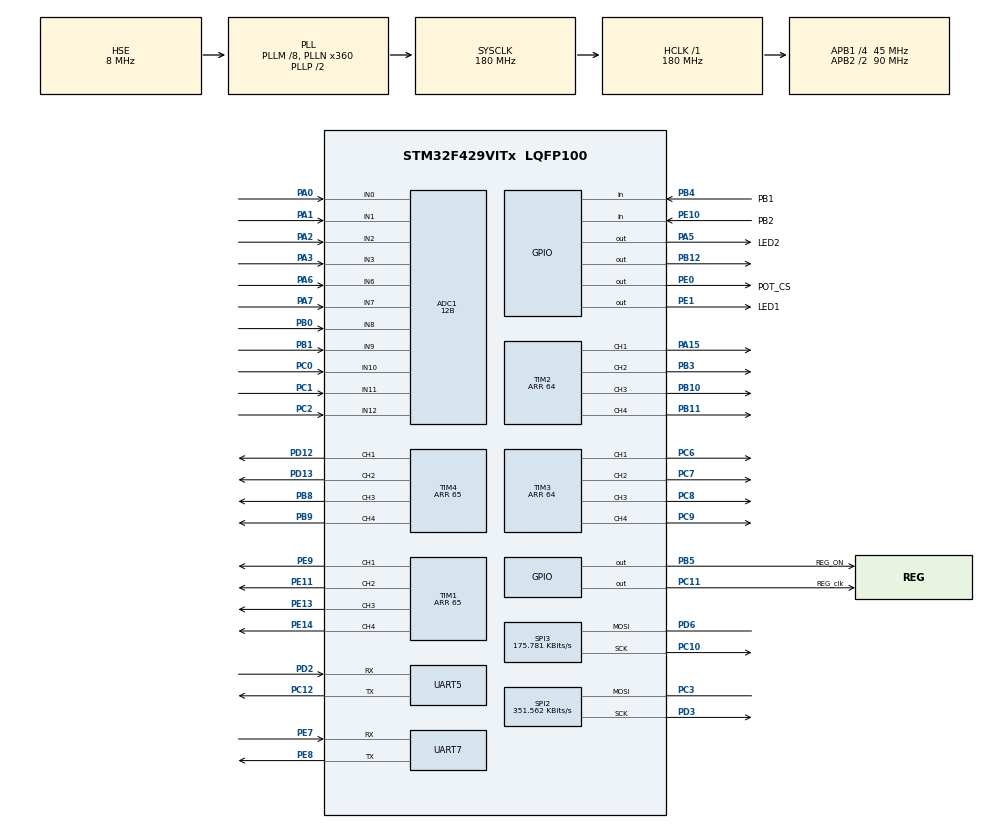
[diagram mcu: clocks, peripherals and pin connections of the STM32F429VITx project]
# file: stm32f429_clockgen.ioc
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ADC1.Channel-1\#ChannelRegularConversion=ADC_CHANNEL_9
ADC1.Channel-10\#ChannelRegularConversion=ADC_CHANNEL_0
ADC1.Channel-2\#ChannelRegularConversion=ADC_CHANNEL_8
ADC1.Channel-3\#ChannelRegularConversion=ADC_CHANNEL_7
ADC1.Channel-4\#ChannelRegularConversion=ADC_CHANNEL_6
ADC1.Channel-5\#ChannelRegularConversion=ADC_CHANNEL_11
ADC1.Channel-6\#ChannelRegularConversion=ADC_CHANNEL_12
ADC1.Channel-7\#ChannelRegularConversion=ADC_CHANNEL_10
ADC1.Channel-8\#ChannelRegularConversion=ADC_CHANNEL_2
ADC1.Channel-9\#ChannelRegularConversion=ADC_CHANNEL_3
ADC1.ClockPrescaler=ADC_CLOCK_SYNC_PCLK_DIV8
ADC1.NbrOfConversion=10
ADC1.NbrOfConversionFlag=1
ADC1.Rank-1\#ChannelRegularConversion=1
ADC1.Rank-10\#ChannelRegularConversion=10
ADC1.Rank-2\#ChannelRegularConversion=2
ADC1.Rank-3\#ChannelRegularConversion=3
ADC1.Rank-4\#ChannelRegularConversion=4
ADC1.Rank-5\#ChannelRegularConversion=5
ADC1.Rank-6\#ChannelRegularConversion=6
ADC1.Rank-7\#ChannelRegularConversion=7
ADC1.Rank-8\#ChannelRegularConversion=8
ADC1.Rank-9\#ChannelRegularConversion=9
ADC1.Resolution=ADC_RESOLUTION_12B
ADC1.SamplingTime-1\#ChannelRegularConversion=ADC_SAMPLETIME_3CYCLES
ADC1.SamplingTime-10\#ChannelRegularConversion=ADC_SAMPLETIME_3CYCLES
ADC1.SamplingTime-2\#ChannelRegularConversion=ADC_SAMPLETIME_3CYCLES
ADC1.SamplingTime-3\#ChannelRegularConversion=ADC_SAMPLETIME_3CYCLES
ADC1.SamplingTime-4\#ChannelRegularConversion=ADC_SAMPLETIME_3CYCLES
ADC1.SamplingTime-5\#ChannelRegularConversion=ADC_SAMPLETIME_3CYCLES
ADC1.SamplingTime-6\#ChannelRegularConversion=ADC_SAMPLETIME_3CYCLES
ADC1.SamplingTime-7\#ChannelRegularConversion=ADC_SAMPLETIME_3CYCLES
ADC1.SamplingTime-8\#ChannelRegularConversion=ADC_SAMPLETIME_3CYCLES
ADC1.SamplingTime-9\#ChannelRegularConversion=ADC_SAMPLETIME_3CYCLES
ADC1.master=1
Mcu.Family=STM32F4
Mcu.Name=STM32F429VITx
Mcu.Package=LQFP100
NVIC.PriorityGroup=NVIC_PRIORITYGROUP_4
NVIC.UART5_IRQn=true\:0\:0\:false\:false\:true\:true\:true\:true
PA0/WKUP.Signal=ADCx_IN0
PA1.Signal=ADCx_IN1
PA13.Mode=Serial_Wire
PA13.Signal=SYS_JTMS-SWDIO
PA14.Mode=Serial_Wire
PA14.Signal=SYS_JTCK-SWCLK
PA15.Signal=S_TIM2_CH1_ETR
PA2.Signal=ADCx_IN2
PA3.Signal=ADCx_IN3
PA5.GPIO_Label=LED2
PA5.Signal=GPIO_Output
PA6.Signal=ADCx_IN6
PA7.Signal=ADCx_IN7
PB0.Signal=ADCx_IN8
PB1.Signal=ADCx_IN9
PB10.Signal=S_TIM2_CH3
PB11.Signal=S_TIM2_CH4
PB12.Signal=GPIO_Output
PB3.Signal=S_TIM2_CH2
PB4.GPIO_Label=PB1
PB4.Signal=GPIO_Input
PB5.GPIO_Label=REG_ON
PB5.Signal=GPIO_Output
PB8.Signal=S_TIM4_CH3
PB9.Signal=S_TIM4_CH4
PC0.Signal=ADCx_IN10
PC1.Signal=ADCx_IN11
PC10.Mode=Simplex_Bidirectional_Master
PC10.Signal=SPI3_SCK
PC11.GPIO_Label=REG_clk
PC11.Signal=GPIO_Output
PC12.Mode=Asynchronous
PC12.Signal=UART5_TX
PC2.Signal=ADCx_IN12
PC3.Mode=Simplex_Bidirectional_Master
PC3.Signal=SPI2_MOSI
PC6.Signal=S_TIM3_CH1
PC7.Signal=S_TIM3_CH2
PC8.Signal=S_TIM3_CH3
PC9.Signal=S_TIM3_CH4
PD12.Signal=S_TIM4_CH1
PD13.Signal=S_TIM4_CH2
PD2.Mode=Asynchronous
PD2.Signal=UART5_RX
PD3.Mode=Simplex_Bidirectional_Master
PD3.Signal=SPI2_SCK
PD6.Mode=Simplex_Bidirectional_Master
PD6.Signal=SPI3_MOSI
PE0.GPIO_Label=POT_CS
PE0.Signal=GPIO_Output
PE1.GPIO_Label=LED1
PE1.Signal=GPIO_Output
PE10.GPIO_Label=PB2
PE10.Signal=GPIO_Input
PE11.Signal=S_TIM1_CH2
PE13.Signal=S_TIM1_CH3
PE14.Signal=S_TIM1_CH4
PE7.Mode=Asynchronous
PE7.Signal=UART7_RX
PE8.Mode=Asynchronous
PE8.Signal=UART7_TX
PE9.Signal=S_TIM1_CH1
PH0/OSC_IN.Mode=HSE-External-Oscillator
PH0/OSC_IN.Signal=RCC_OSC_IN
PH1/OSC_OUT.Mode=HSE-External-Oscillator
PH1/OSC_OUT.Signal=RCC_OSC_OUT
ProjectManager.HeapSize=0x200
ProjectManager.StackSize=0x400
ProjectManager.TargetToolchain=MDK-ARM V5.27
RCC.48MHZClocksFreq_Value=51428571.428571425
RCC.AHBFreq_Value=180000000
RCC.APB1CLKDivider=RCC_HCLK_DIV4
RCC.APB1Freq_Value=45000000
RCC.APB1TimFreq_Value=180000000
RCC.APB2CLKDivider=RCC_HCLK_DIV2
RCC.APB2Freq_Value=90000000
RCC.APB2TimFreq_Value=180000000
RCC.CortexFreq_Value=180000000
RCC.HCLKFreq_Value=180000000
RCC.HSE_VALUE=8000000
RCC.HSI_VALUE=16000000
RCC.LSE_VALUE=32768
RCC.PLLM=8
RCC.PLLN=360
RCC.PLLQ=7
RCC.PLLSourceVirtual=RCC_PLLSOURCE_HSE
RCC.RCC_TIM_PRescaler_Selection=RCC_TIMPRES_ACTIVATED
RCC.SYSCLKFreq_VALUE=180000000
RCC.SYSCLKSource=RCC_SYSCLKSOURCE_PLLCLK
RCC.VCOOutputFreq_Value=360000000
SH.ADCx_IN0.0=ADC1_IN0,IN0
SH.ADCx_IN1.0=ADC1_IN1,IN1
SH.ADCx_IN10.0=ADC1_IN10,IN10
SH.ADCx_IN11.0=ADC1_IN11,IN11
SH.ADCx_IN12.0=ADC1_IN12,IN12
SH.ADCx_IN2.0=ADC1_IN2,IN2
SH.ADCx_IN3.0=ADC1_IN3,IN3
SH.ADCx_IN6.0=ADC1_IN6,IN6
SH.ADCx_IN7.0=ADC1_IN7,IN7
SH.ADCx_IN8.0=ADC1_IN8,IN8
SH.ADCx_IN9.0=ADC1_IN9,IN9
SH.S_TIM1_CH1.0=TIM1_CH1,PWM Generation1 CH1
SH.S_TIM1_CH2.0=TIM1_CH2,PWM Generation2 CH2
SH.S_TIM1_CH3.0=TIM1_CH3,PWM Generation3 CH3
SH.S_TIM1_CH4.0=TIM1_CH4,PWM Generation4 CH4
SH.S_TIM2_CH1_ETR.0=TIM2_CH1,PWM Generation1 CH1
SH.S_TIM2_CH2.0=TIM2_CH2,PWM Generation2 CH2
SH.S_TIM2_CH3.0=TIM2_CH3,PWM Generation3 CH3
SH.S_TIM2_CH4.0=TIM2_CH4,PWM Generation4 CH4
SH.S_TIM3_CH1.0=TIM3_CH1,PWM Generation1 CH1
SH.S_TIM3_CH2.0=TIM3_CH2,PWM Generation2 CH2
SH.S_TIM3_CH3.0=TIM3_CH3,PWM Generation3 CH3
SH.S_TIM3_CH4.0=TIM3_CH4,PWM Generation4 CH4
SH.S_TIM4_CH1.0=TIM4_CH1,PWM Generation1 CH1
SH.S_TIM4_CH2.0=TIM4_CH2,PWM Generation2 CH2
SH.S_TIM4_CH3.0=TIM4_CH3,PWM Generation3 CH3
SH.S_TIM4_CH4.0=TIM4_CH4,PWM Generation4 CH4
SPI2.BaudRatePrescaler=SPI_BAUDRATEPRESCALER_128
SPI2.CalculateBaudRate=351.562 KBits/s
SPI2.DataSize=SPI_DATASIZE_16BIT
SPI2.Direction=SPI_DIRECTION_1LINE
SPI2.Mode=SPI_MODE_MASTER
SPI2.VirtualType=VM_MASTER
SPI3.BaudRatePrescaler=SPI_BAUDRATEPRESCALER_256
SPI3.CLKPolarity=SPI_POLARITY_LOW
SPI3.CalculateBaudRate=175.781 KBits/s
SPI3.DataSize=SPI_DATASIZE_8BIT
SPI3.Direction=SPI_DIRECTION_1LINE
SPI3.Mode=SPI_MODE_MASTER
SPI3.VirtualType=VM_MASTER
TIM1.Channel-PWM\ Generation1\ CH1=TIM_CHANNEL_1
TIM1.Channel-PWM\ Generation2\ CH2=TIM_CHANNEL_2
TIM1.Channel-PWM\ Generation3\ CH3=TIM_CHANNEL_3
TIM1.Channel-PWM\ Generation4\ CH4=TIM_CHANNEL_4
TIM1.CounterMode=TIM_COUNTERMODE_CENTERALIGNED1
TIM1.OCIdleState_2=TIM_OCIDLESTATE_SET
TIM1.Period=65
TIM2.Channel-PWM\ Generation1\ CH1=TIM_CHANNEL_1
TIM2.Channel-PWM\ Generation2\ CH2=TIM_CHANNEL_2
TIM2.Channel-PWM\ Generation3\ CH3=TIM_CHANNEL_3
TIM2.Channel-PWM\ Generation4\ CH4=TIM_CHANNEL_4
TIM2.CounterMode=TIM_COUNTERMODE_CENTERALIGNED1
TIM2.Period=64
TIM2.Pulse-PWM\ Generation1\ CH1=27
TIM2.Pulse-PWM\ Generation2\ CH2=44
TIM3.Channel-PWM\ Generation1\ CH1=TIM_CHANNEL_1
TIM3.Channel-PWM\ Generation2\ CH2=TIM_CHANNEL_2
TIM3.Channel-PWM\ Generation3\ CH3=TIM_CHANNEL_3
TIM3.Channel-PWM\ Generation4\ CH4=TIM_CHANNEL_4
TIM3.CounterMode=TIM_COUNTERMODE_CENTERALIGNED1
TIM3.Period=64
TIM3.Pulse-PWM\ Generation3\ CH3=27
TIM4.Channel-PWM\ Generation1\ CH1=TIM_CHANNEL_1
TIM4.Channel-PWM\ Generation2\ CH2=TIM_CHANNEL_2
TIM4.Channel-PWM\ Generation3\ CH3=TIM_CHANNEL_3
TIM4.Channel-PWM\ Generation4\ CH4=TIM_CHANNEL_4
TIM4.CounterMode=TIM_COUNTERMODE_CENTERALIGNED1
TIM4.Period=65
TIM5.Period=1
TIM5.TIM_MasterOutputTrigger=TIM_TRGO_ENABLE
TIM5.TIM_MasterSlaveMode=TIM_MASTERSLAVEMODE_ENABLE
TIM8.Period=10
TIM8.TIM_MasterOutputTrigger=TIM_TRGO_ENABLE
TIM8.TIM_MasterSlaveMode=TIM_MASTERSLAVEMODE_ENABLE
UART5.VirtualMode=Asynchronous
UART7.VirtualMode=Asynchronous
VP_TIM1_VS_ClockSourceINT.Mode=Internal
VP_TIM1_VS_ClockSourceITR.Mode=TriggerSource_ITR0
VP_TIM1_VS_ControllerModeGated.Mode=Gated Mode
VP_TIM2_VS_ClockSourceINT.Mode=Internal
VP_TIM2_VS_ClockSourceITR.Mode=TriggerSource_ITR1
VP_TIM2_VS_ControllerModeGated.Mode=Gated Mode
VP_TIM3_VS_ClockSourceINT.Mode=Internal
VP_TIM3_VS_ClockSourceITR.Mode=TriggerSource_ITR2
VP_TIM3_VS_ControllerModeGated.Mode=Gated Mode
VP_TIM4_VS_ClockSourceINT.Mode=Internal
VP_TIM4_VS_ClockSourceITR.Mode=TriggerSource_ITR3
VP_TIM4_VS_ControllerModeGated.Mode=Gated Mode
VP_TIM5_VS_ClockSourceINT.Mode=Internal
VP_TIM5_VS_ClockSourceITR.Mode=TriggerSource_ITR3
VP_TIM5_VS_ControllerModeGated.Mode=Gated Mode
VP_TIM8_VS_ClockSourceINT.Mode=Internal
board=custom

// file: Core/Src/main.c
/* USER CODE BEGIN Header */
/**
  ******************************************************************************
  * @file           : main.c
  * @brief          : Main program body
  ******************************************************************************
  * @attention
  *
  * <h2><center>&copy; Copyright (c) 2021 STMicroelectronics.
  * All rights reserved.</center></h2>
  *
  * This software component is licensed by ST under BSD 3-Clause license,
  * the "License"; You may not use this file except in compliance with the
  * License. You may obtain a copy of the License at:
  *                        opensource.org/licenses/BSD-3-Clause
  *
  ******************************************************************************
  */
/* USER CODE END Header */
#include "main.h"

ADC_HandleTypeDef hadc1;

SPI_HandleTypeDef hspi2;
SPI_HandleTypeDef hspi3;

TIM_HandleTypeDef htim1;
TIM_HandleTypeDef htim2;
TIM_HandleTypeDef htim3;
TIM_HandleTypeDef htim4;
TIM_HandleTypeDef htim5;
TIM_HandleTypeDef htim8;

UART_HandleTypeDef huart5;
UART_HandleTypeDef huart7;

/* USER CODE BEGIN PV */
#define RED 1
#define GREEN 0
#define ch1_2 1
#define ch3_4 3
#define INPHASE 1
#define OFF 0
#define ANTIPHASE -1
#define SHORTCIRCUIT 0
#define OPENCIRCUIT 1

TIM_TypeDef  *timers[7] = {TIM1,TIM2,TIM4,TIM4,TIM3,TIM3,TIM2};
const uint8_t channels[7] ={1,3,1,3,1,3,1};
uint16_t freq = 65;
uint8_t deadtime = 8;
float voltage = 4;
int8_t transmiter_state[7]={OFF,OFF,OFF,OFF,OFF,OFF,OFF};
uint16_t LEDs_state = 0;
uint8_t flags = 6;
//FATFS USBDISKFatFs;           /* File system object for USB disk logical drive */
//FIL MyFile;                   /* File object */
//char USBDISKPath[4];          /* USB Host logical drive path */
//USBH_HandleTypeDef hUSBHost; /* USB Host handle */
//static void MSC_Application(void);
//extern ApplicationTypeDef Appli_state;
char buff[5];
char received_flag = 0;
/* USER CODE END PV */

void SystemClock_Config(void);
static void MX_GPIO_Init(void);
static void MX_ADC1_Init(void);
static void MX_SPI2_Init(void);
static void MX_SPI3_Init(void);
static void MX_TIM1_Init(void);
static void MX_TIM2_Init(void);
static void MX_TIM3_Init(void);
static void MX_TIM4_Init(void);
static void MX_UART5_Init(void);
static void MX_UART7_Init(void);
static void MX_TIM5_Init(void);
static void MX_TIM8_Init(void);
/* USER CODE BEGIN PFP */
void timers_init();
void setRegVoltage(float Vo);
void resetLEDs();
void setLEDs(uint8_t COL, uint8_t NUM , uint8_t ON_OFF );
void set_frequency(int f);
void PWM_SET(TIM_HandleTypeDef* timer, uint8_t channel ,int8_t phase,int f,uint8_t deadtime);
void transmiter(uint8_t num,int8_t state , uint8_t HighZ);
/* USER CODE END PFP */

/* USER CODE BEGIN 0 */
	union transmit_data
    {
    uint16_t ADCValue[7];
    uint8_t TXdata[14];
    }TData;

/* USER CODE END 0 */

int main(void)
{

  /* MCU Configuration--------------------------------------------------------*/

  /* Reset of all peripherals, Initializes the Flash interface and the Systick. */
  HAL_Init();

  /* Configure the system clock */
  SystemClock_Config();

  /* Initialize all configured peripherals */
  MX_GPIO_Init();
  MX_ADC1_Init();
  MX_SPI2_Init();
  MX_SPI3_Init();
  MX_TIM1_Init();
  MX_TIM2_Init();
  MX_TIM3_Init();
  MX_TIM4_Init();
  MX_UART5_Init();
  MX_UART7_Init();
  MX_TIM5_Init();
  MX_TIM8_Init();
  /* USER CODE BEGIN 2 */
	resetLEDs();
//	__HAL_RCC_TIM2_CLK_ENABLE();
//	TIM2->CR1 = (1<<0)|(1<<5)|(1<<6);
//	TIM2->CCMR1 = (1<<5)|(1<<6)|(1<<14)|(1<<13);
//	TIM2->CCER = (1<<0)|(1<<4);
//	TIM2->ARR = freq;
//	TIM2->CCR1 = (freq/2)-5;
//	TIM2->CCR2 = (freq/2)+5;
//	__HAL_RCC_GPIOB_CLK_ENABLE();
//  __HAL_RCC_GPIOA_CLK_ENABLE();
//	GPIO_InitTypeDef GPIO_InitStruct = {0};
//	GPIO_InitStruct.Pin = GPIO_PIN_3;
//    GPIO_InitStruct.Mode = GPIO_MODE_AF_PP;
//    GPIO_InitStruct.Pull = GPIO_NOPULL;
//    GPIO_InitStruct.Speed = GPIO_SPEED_FREQ_LOW;
//    GPIO_InitStruct.Alternate = GPIO_AF1_TIM2;
//    HAL_GPIO_Init(GPIOB, &GPIO_InitStruct);

//    GPIO_InitStruct.Pin = GPIO_PIN_15;
//    GPIO_InitStruct.Mode = GPIO_MODE_AF_PP;
//    GPIO_InitStruct.Pull = GPIO_NOPULL;
//    GPIO_InitStruct.Speed = GPIO_SPEED_FREQ_LOW;
//    GPIO_InitStruct.Alternate = GPIO_AF1_TIM2;
//    HAL_GPIO_Init(GPIOA, &GPIO_InitStruct);
	//RCC->APB1ENR = RCC->APB1ENR |(uint32_t)(1<<0);

//	for(int i=1 ; i<=7 ; i++) {
//		if(i>1) setLEDs(RED,i-1,0);
//		setLEDs(RED,i,1);
//		HAL_Delay(100);
//	}
//	setLEDs(RED,7,0);
//	for(int i=1 ; i<=7 ; i++){
//		if(i>1) setLEDs(GREEN,i-1,0);
//		setLEDs(GREEN,i,1);
//		HAL_Delay(100);
//	}
//	setLEDs(GREEN,7,0);
  /* USER CODE END 2 */

  /* Infinite loop */
  /* USER CODE BEGIN WHILE */
	//int i;
	timers_init();
	HAL_GPIO_WritePin(REG_ON_GPIO_Port,REG_ON_Pin,GPIO_PIN_SET);
	HAL_GPIO_WritePin(POT_CS_GPIO_Port,POT_CS_Pin,GPIO_PIN_SET);
	HAL_Delay(100);
	setRegVoltage(4);
	/*for(i=3;i<=12;i++) {
		setRegVoltage(i);
		HAL_Delay(500);
	}*/
	//PWM_SET(&htim4 ,ch3_4 , ANTIPHASE ,64 , 7);
	//PWM_SET(&htim2 ,ch3_4 , INPHASE ,64 , 7);
	/*for(int i =1 ; i <= 7 ; i++){
			transmiter(i,ANTIPHASE);
		if(i>1) transmiter(i-1,OFF);
		HAL_Delay(2000);
	}*/
	//HAL_TIM_Base_Stop(&htim1);
	//HAL_TIM_Base_Stop(&htim2);
	//HAL_TIM_Base_Stop(&htim3);
	//HAL_TIM_Base_Stop(&htim4);
	HAL_Delay(200);
	//transmiter(2,INPHASE);
	HAL_Delay(20);
	transmiter(6,ANTIPHASE,OPENCIRCUIT);
//	char tx_state = 'S';
//	buff[0] = 'S';
	set_frequency(102);
	//transmiter(6,ANTIPHASE);
	//transmiter(7,ANTIPHASE);
	HAL_TIM_PWM_Start(&htim1, TIM_CHANNEL_1);
	HAL_TIM_PWM_Start(&htim1, TIM_CHANNEL_2);
	//HAL_TIM_Base_Start(&htim1);
	TIM1->CR1 |= (1<<0);
	TIM5->CR1 |= (1<<0);

	HAL_TIM_Base_Start(&htim8);
	HAL_TIM_Base_Start(&htim1);
	HAL_TIM_PWM_Start(&htim1, TIM_CHANNEL_1);
	HAL_TIM_PWM_Start(&htim1, TIM_CHANNEL_2);
	//HAL_TIM_PWM_Start(&htim4, TIM_CHANNEL_3);
	//HAL_TIM_PWM_Start(&htim4, TIM_CHANNEL_4);

	float v = 4;

	uint16_t f=0;
	//unsigned int ADCValue[9];
	uint8_t i=0;
	//Appli_state = APPLICATION_START;
	HAL_UART_Receive_IT(&huart5,(uint8_t *)buff, 2);
	//void *packetADD = &(ADCValue[0]);
  while (1)
  {
		/*HAL_GPIO_TogglePin(LED1_GPIO_Port,LED1_Pin);
		HAL_Delay(500);
		HAL_GPIO_TogglePin(LED2_GPIO_Port,LED2_Pin);
		HAL_Delay(500);*/
		/*setRegVoltage(v);
		if(f){
			v = v + 0.5;
			if(v==10) f=0;
		}
		else{
			v = v - 0.5;
			if(v==3) f=1;
		}
		HAL_Delay(500);*/
/*************** ADC start conversion*******************************/
		/*HAL_ADC_Start(&hadc1);
		for(i=0;i<10;i++){
			if (HAL_ADC_PollForConversion(&hadc1, 100) == HAL_OK){
					TData.ADCValue[i] = HAL_ADC_GetValue(&hadc1);
			}
		}
		HAL_UART_Transmit (&huart5, TData.TXdata ,2*7,10);*/
		//HAL_Delay(10);

/**************UART input data interpatation*************************/
		if(received_flag){
				received_flag = 0;
				if( buff[0] == 'f' || buff[0] == 'F' ){
					freq = ( (uint8_t)buff[1] );
					set_frequency(freq);
				}else if( buff[0] == 'v' || buff[0] == 'V' ){
					voltage = (( uint8_t)buff[1] ) * 10 / 255.0 + 1.9;
					setRegVoltage( voltage );
				}
				else if( buff[0] == 't' || buff[0] == 'T' ){
					flags = (( uint8_t)buff[1] )  & ( 0x0f );
					transmiter_state[ flags - 1 ] = (int8_t) ( ( uint8_t)buff[1]  & ( 0xf0 ) ) >> 4 ;
					transmiter( flags , transmiter_state[ flags - 1 ] , OPENCIRCUIT );
				}
				else if( buff[0] == 'S' && buff[1] == 'C' ){ //start conversion command
					HAL_ADC_Start(&hadc1);
					for(i=0;i<10;i++){
						if (HAL_ADC_PollForConversion(&hadc1, 100) == HAL_OK){
								TData.ADCValue[i] = HAL_ADC_GetValue(&hadc1);
						}
					}
					HAL_UART_Transmit (&huart5, TData.TXdata ,2*7,10);
				}
}
/*******************frequency setting**********************************/
//		f = TData.ADCValue[3] /(2047.0) * 80 + 50 ;
//		if( f != freq){
//			freq = f;
////			HAL_TIM_Base_Stop(&htim8);
////			HAL_TIM_Base_Stop(&htim5);
////			HAL_TIM_Base_Stop(&htim1);
////			HAL_TIM_Base_Stop(&htim2);
////			HAL_TIM_Base_Stop(&htim3);
////			HAL_TIM_Base_Stop(&htim4);
//			set_frequency(f);
////			HAL_TIM_Base_Start(&htim8);
////			HAL_TIM_Base_Start(&htim5);
//		}

/********************************voltage set****************************/
//		v = TData.ADCValue[4] / (2047.0)  * 8.0  + 4.0;
//		if(v != voltage ) {
//			voltage = v;
//			setRegVoltage(v);
//		}
		HAL_Delay(10);

/********************** transmiter number set *************************/
//		if( HAL_GPIO_ReadPin(PB2_GPIO_Port,PB2_Pin) == GPIO_PIN_RESET){
//			flags++;
//			if(flags>= 8 ) flags =6;
//			transmiter(flags,ANTIPHASE,OPENCIRCUIT);
//			/*if(flags == 0 ) {
//				transmiter(7,ANTIPHASE);
//				flags =1;
//			}
//			else if(flags == 1 ) {
//				transmiter(7,INPHASE);
//				flags =2;
//			}else if(flags == 2 ) {
//				transmiter(7,OFF);
//				flags =0;
//			}*/
//			/*flags++;
//			if(flags==8)flags = 1;
//			if(flags == 1) transmiter(7,OFF);
//			else transmiter(flags-1,OFF);
//			transmiter(flags,ANTIPHASE);*/
//			HAL_Delay(300);
//		}
/******************* transmiter state set*****************************/
//		if( HAL_GPIO_ReadPin(PB1_GPIO_Port,PB1_Pin) == GPIO_PIN_RESET){
//			int8_t st = transmiter_state[flags-1];
////			st++;
////			if(st == 2) st = -1;
//			st--;
//			if(st <= -2) st = 1;
//			transmiter(flags,st,OPENCIRCUIT);
//			HAL_Delay(300);
//		}
    /* USER CODE END WHILE */

  }
}

void SystemClock_Config(void)
{
  RCC_OscInitTypeDef RCC_OscInitStruct = {0};
  RCC_ClkInitTypeDef RCC_ClkInitStruct = {0};
  RCC_PeriphCLKInitTypeDef PeriphClkInitStruct = {0};

  /** Configure the main internal regulator output voltage
  */
  __HAL_RCC_PWR_CLK_ENABLE();
  __HAL_PWR_VOLTAGESCALING_CONFIG(PWR_REGULATOR_VOLTAGE_SCALE1);
  /** Initializes the RCC Oscillators according to the specified parameters
  * in the RCC_OscInitTypeDef structure.
  */
  RCC_OscInitStruct.OscillatorType = RCC_OSCILLATORTYPE_HSE;
  RCC_OscInitStruct.HSEState = RCC_HSE_ON;
  RCC_OscInitStruct.PLL.PLLState = RCC_PLL_ON;
  RCC_OscInitStruct.PLL.PLLSource = RCC_PLLSOURCE_HSE;
  RCC_OscInitStruct.PLL.PLLM = 8;
  RCC_OscInitStruct.PLL.PLLN = 360;
  RCC_OscInitStruct.PLL.PLLP = RCC_PLLP_DIV2;
  RCC_OscInitStruct.PLL.PLLQ = 7;
  if (HAL_RCC_OscConfig(&RCC_OscInitStruct) != HAL_OK)
  {
    Error_Handler();
  }
  /** Activate the Over-Drive mode
  */
  if (HAL_PWREx_EnableOverDrive() != HAL_OK)
  {
    Error_Handler();
  }
  /** Initializes the CPU, AHB and APB buses clocks
  */
  RCC_ClkInitStruct.ClockType = RCC_CLOCKTYPE_HCLK|RCC_CLOCKTYPE_SYSCLK
                              |RCC_CLOCKTYPE_PCLK1|RCC_CLOCKTYPE_PCLK2;
  RCC_ClkInitStruct.SYSCLKSource = RCC_SYSCLKSOURCE_PLLCLK;
  RCC_ClkInitStruct.AHBCLKDivider = RCC_SYSCLK_DIV1;
  RCC_ClkInitStruct.APB1CLKDivider = RCC_HCLK_DIV4;
  RCC_ClkInitStruct.APB2CLKDivider = RCC_HCLK_DIV2;

  if (HAL_RCC_ClockConfig(&RCC_ClkInitStruct, FLASH_LATENCY_5) != HAL_OK)
  {
    Error_Handler();
  }
  PeriphClkInitStruct.PeriphClockSelection = RCC_PERIPHCLK_TIM;
  PeriphClkInitStruct.TIMPresSelection = RCC_TIMPRES_ACTIVATED;
  if (HAL_RCCEx_PeriphCLKConfig(&PeriphClkInitStruct) != HAL_OK)
  {
    Error_Handler();
  }
}

static void MX_ADC1_Init(void)
{

  ADC_ChannelConfTypeDef sConfig = {0};

  /** Configure the global features of the ADC (Clock, Resolution, Data Alignment and number of conversion)
  */
  hadc1.Instance = ADC1;
  hadc1.Init.ClockPrescaler = ADC_CLOCK_SYNC_PCLK_DIV8;
  hadc1.Init.Resolution = ADC_RESOLUTION_12B;
  hadc1.Init.ScanConvMode = ENABLE;
  hadc1.Init.ContinuousConvMode = DISABLE;
  hadc1.Init.DiscontinuousConvMode = DISABLE;
  hadc1.Init.ExternalTrigConvEdge = ADC_EXTERNALTRIGCONVEDGE_NONE;
  hadc1.Init.ExternalTrigConv = ADC_SOFTWARE_START;
  hadc1.Init.DataAlign = ADC_DATAALIGN_RIGHT;
  hadc1.Init.NbrOfConversion = 10;
  hadc1.Init.DMAContinuousRequests = DISABLE;
  hadc1.Init.EOCSelection = ADC_EOC_SINGLE_CONV;
  if (HAL_ADC_Init(&hadc1) != HAL_OK)
  {
    Error_Handler();
  }
  /** Configure for the selected ADC regular channel its corresponding rank in the sequencer and its sample time.
  */
  sConfig.Channel = ADC_CHANNEL_9;
  sConfig.Rank = 1;
  sConfig.SamplingTime = ADC_SAMPLETIME_3CYCLES;
  if (HAL_ADC_ConfigChannel(&hadc1, &sConfig) != HAL_OK)
  {
    Error_Handler();
  }
  /** Configure for the selected ADC regular channel its corresponding rank in the sequencer and its sample time.
  */
  sConfig.Channel = ADC_CHANNEL_8;
  sConfig.Rank = 2;
  if (HAL_ADC_ConfigChannel(&hadc1, &sConfig) != HAL_OK)
  {
    Error_Handler();
  }
  /** Configure for the selected ADC regular channel its corresponding rank in the sequencer and its sample time.
  */
  sConfig.Channel = ADC_CHANNEL_7;
  sConfig.Rank = 3;
  if (HAL_ADC_ConfigChannel(&hadc1, &sConfig) != HAL_OK)
  {
    Error_Handler();
  }
  /** Configure for the selected ADC regular channel its corresponding rank in the sequencer and its sample time.
  */
  sConfig.Channel = ADC_CHANNEL_6;
  sConfig.Rank = 4;
  if (HAL_ADC_ConfigChannel(&hadc1, &sConfig) != HAL_OK)
  {
    Error_Handler();
  }
  /** Configure for the selected ADC regular channel its corresponding rank in the sequencer and its sample time.
  */
  sConfig.Channel = ADC_CHANNEL_11;
  sConfig.Rank = 5;
  if (HAL_ADC_ConfigChannel(&hadc1, &sConfig) != HAL_OK)
  {
    Error_Handler();
  }
  /** Configure for the selected ADC regular channel its corresponding rank in the sequencer and its sample time.
  */
  sConfig.Channel = ADC_CHANNEL_12;
  sConfig.Rank = 6;
  if (HAL_ADC_ConfigChannel(&hadc1, &sConfig) != HAL_OK)
  {
    Error_Handler();
  }
  /** Configure for the selected ADC regular channel its corresponding rank in the sequencer and its sample time.
  */
  sConfig.Channel = ADC_CHANNEL_10;
  sConfig.Rank = 7;
  if (HAL_ADC_ConfigChannel(&hadc1, &sConfig) != HAL_OK)
  {
    Error_Handler();
  }
  /** Configure for the selected ADC regular channel its corresponding rank in the sequencer and its sample time.
  */
  sConfig.Channel = ADC_CHANNEL_2;
  sConfig.Rank = 8;
  if (HAL_ADC_ConfigChannel(&hadc1, &sConfig) != HAL_OK)
  {
    Error_Handler();
  }
  /** Configure for the selected ADC regular channel its corresponding rank in the sequencer and its sample time.
  */
  sConfig.Channel = ADC_CHANNEL_3;
  sConfig.Rank = 9;
  if (HAL_ADC_ConfigChannel(&hadc1, &sConfig) != HAL_OK)
  {
    Error_Handler();
  }
  /** Configure for the selected ADC regular channel its corresponding rank in the sequencer and its sample time.
  */
  sConfig.Channel = ADC_CHANNEL_0;
  sConfig.Rank = 10;
  if (HAL_ADC_ConfigChannel(&hadc1, &sConfig) != HAL_OK)
  {
    Error_Handler();
  }

}

static void MX_SPI2_Init(void)
{

  /* SPI2 parameter configuration*/
  hspi2.Instance = SPI2;
  hspi2.Init.Mode = SPI_MODE_MASTER;
  hspi2.Init.Direction = SPI_DIRECTION_1LINE;
  hspi2.Init.DataSize = SPI_DATASIZE_16BIT;
  hspi2.Init.CLKPolarity = SPI_POLARITY_LOW;
  hspi2.Init.CLKPhase = SPI_PHASE_1EDGE;
  hspi2.Init.NSS = SPI_NSS_SOFT;
  hspi2.Init.BaudRatePrescaler = SPI_BAUDRATEPRESCALER_128;
  hspi2.Init.FirstBit = SPI_FIRSTBIT_MSB;
  hspi2.Init.TIMode = SPI_TIMODE_DISABLE;
  hspi2.Init.CRCCalculation = SPI_CRCCALCULATION_DISABLE;
  hspi2.Init.CRCPolynomial = 10;
  if (HAL_SPI_Init(&hspi2) != HAL_OK)
  {
    Error_Handler();
  }

}

static void MX_SPI3_Init(void)
{

  /* SPI3 parameter configuration*/
  hspi3.Instance = SPI3;
  hspi3.Init.Mode = SPI_MODE_MASTER;
  hspi3.Init.Direction = SPI_DIRECTION_1LINE;
  hspi3.Init.DataSize = SPI_DATASIZE_8BIT;
  hspi3.Init.CLKPolarity = SPI_POLARITY_LOW;
  hspi3.Init.CLKPhase = SPI_PHASE_1EDGE;
  hspi3.Init.NSS = SPI_NSS_SOFT;
  hspi3.Init.BaudRatePrescaler = SPI_BAUDRATEPRESCALER_256;
  hspi3.Init.FirstBit = SPI_FIRSTBIT_MSB;
  hspi3.Init.TIMode = SPI_TIMODE_DISABLE;
  hspi3.Init.CRCCalculation = SPI_CRCCALCULATION_DISABLE;
  hspi3.Init.CRCPolynomial = 10;
  if (HAL_SPI_Init(&hspi3) != HAL_OK)
  {
    Error_Handler();
  }

}

static void MX_TIM1_Init(void)
{

  TIM_ClockConfigTypeDef sClockSourceConfig = {0};
  TIM_SlaveConfigTypeDef sSlaveConfig = {0};
  TIM_MasterConfigTypeDef sMasterConfig = {0};
  TIM_OC_InitTypeDef sConfigOC = {0};
  TIM_BreakDeadTimeConfigTypeDef sBreakDeadTimeConfig = {0};

  htim1.Instance = TIM1;
  htim1.Init.Prescaler = 0;
  htim1.Init.CounterMode = TIM_COUNTERMODE_CENTERALIGNED1;
  htim1.Init.Period = 65;
  htim1.Init.ClockDivision = TIM_CLOCKDIVISION_DIV1;
  htim1.Init.RepetitionCounter = 0;
  htim1.Init.AutoReloadPreload = TIM_AUTORELOAD_PRELOAD_DISABLE;
  if (HAL_TIM_Base_Init(&htim1) != HAL_OK)
  {
    Error_Handler();
  }
  sClockSourceConfig.ClockSource = TIM_CLOCKSOURCE_INTERNAL;
  if (HAL_TIM_ConfigClockSource(&htim1, &sClockSourceConfig) != HAL_OK)
  {
    Error_Handler();
  }
  if (HAL_TIM_PWM_Init(&htim1) != HAL_OK)
  {
    Error_Handler();
  }
  sSlaveConfig.SlaveMode = TIM_SLAVEMODE_GATED;
  sSlaveConfig.InputTrigger = TIM_TS_ITR0;
  if (HAL_TIM_SlaveConfigSynchro(&htim1, &sSlaveConfig) != HAL_OK)
  {
    Error_Handler();
  }
  sMasterConfig.MasterOutputTrigger = TIM_TRGO_RESET;
  sMasterConfig.MasterSlaveMode = TIM_MASTERSLAVEMODE_DISABLE;
  if (HAL_TIMEx_MasterConfigSynchronization(&htim1, &sMasterConfig) != HAL_OK)
  {
    Error_Handler();
  }
  sConfigOC.OCMode = TIM_OCMODE_PWM1;
  sConfigOC.Pulse = 0;
  sConfigOC.OCPolarity = TIM_OCPOLARITY_HIGH;
  sConfigOC.OCNPolarity = TIM_OCNPOLARITY_HIGH;
  sConfigOC.OCFastMode = TIM_OCFAST_DISABLE;
  sConfigOC.OCIdleState = TIM_OCIDLESTATE_RESET;
  sConfigOC.OCNIdleState = TIM_OCNIDLESTATE_RESET;
  if (HAL_TIM_PWM_ConfigChannel(&htim1, &sConfigOC, TIM_CHANNEL_1) != HAL_OK)
  {
    Error_Handler();
  }
  sConfigOC.OCIdleState = TIM_OCIDLESTATE_SET;
  if (HAL_TIM_PWM_ConfigChannel(&htim1, &sConfigOC, TIM_CHANNEL_2) != HAL_OK)
  {
    Error_Handler();
  }
  sConfigOC.OCIdleState = TIM_OCIDLESTATE_RESET;
  if (HAL_TIM_PWM_ConfigChannel(&htim1, &sConfigOC, TIM_CHANNEL_3) != HAL_OK)
  {
    Error_Handler();
  }
  if (HAL_TIM_PWM_ConfigChannel(&htim1, &sConfigOC, TIM_CHANNEL_4) != HAL_OK)
  {
    Error_Handler();
  }
  sBreakDeadTimeConfig.OffStateRunMode = TIM_OSSR_DISABLE;
  sBreakDeadTimeConfig.OffStateIDLEMode = TIM_OSSI_DISABLE;
  sBreakDeadTimeConfig.LockLevel = TIM_LOCKLEVEL_OFF;
  sBreakDeadTimeConfig.DeadTime = 0;
  sBreakDeadTimeConfig.BreakState = TIM_BREAK_DISABLE;
  sBreakDeadTimeConfig.BreakPolarity = TIM_BREAKPOLARITY_HIGH;
  sBreakDeadTimeConfig.AutomaticOutput = TIM_AUTOMATICOUTPUT_DISABLE;
  if (HAL_TIMEx_ConfigBreakDeadTime(&htim1, &sBreakDeadTimeConfig) != HAL_OK)
  {
    Error_Handler();
  }
  HAL_TIM_MspPostInit(&htim1);

}

static void MX_TIM2_Init(void)
{

  TIM_ClockConfigTypeDef sClockSourceConfig = {0};
  TIM_SlaveConfigTypeDef sSlaveConfig = {0};
  TIM_MasterConfigTypeDef sMasterConfig = {0};
  TIM_OC_InitTypeDef sConfigOC = {0};

  htim2.Instance = TIM2;
  htim2.Init.Prescaler = 0;
  htim2.Init.CounterMode = TIM_COUNTERMODE_CENTERALIGNED1;
  htim2.Init.Period = 64;
  htim2.Init.ClockDivision = TIM_CLOCKDIVISION_DIV1;
  htim2.Init.AutoReloadPreload = TIM_AUTORELOAD_PRELOAD_DISABLE;
  if (HAL_TIM_Base_Init(&htim2) != HAL_OK)
  {
    Error_Handler();
  }
  sClockSourceConfig.ClockSource = TIM_CLOCKSOURCE_INTERNAL;
  if (HAL_TIM_ConfigClockSource(&htim2, &sClockSourceConfig) != HAL_OK)
  {
    Error_Handler();
  }
  if (HAL_TIM_PWM_Init(&htim2) != HAL_OK)
  {
    Error_Handler();
  }
  sSlaveConfig.SlaveMode = TIM_SLAVEMODE_GATED;
  sSlaveConfig.InputTrigger = TIM_TS_ITR1;
  if (HAL_TIM_SlaveConfigSynchro(&htim2, &sSlaveConfig) != HAL_OK)
  {
    Error_Handler();
  }
  sMasterConfig.MasterOutputTrigger = TIM_TRGO_RESET;
  sMasterConfig.MasterSlaveMode = TIM_MASTERSLAVEMODE_DISABLE;
  if (HAL_TIMEx_MasterConfigSynchronization(&htim2, &sMasterConfig) != HAL_OK)
  {
    Error_Handler();
  }
  sConfigOC.OCMode = TIM_OCMODE_PWM1;
  sConfigOC.Pulse = 27;
  sConfigOC.OCPolarity = TIM_OCPOLARITY_HIGH;
  sConfigOC.OCFastMode = TIM_OCFAST_DISABLE;
  if (HAL_TIM_PWM_ConfigChannel(&htim2, &sConfigOC, TIM_CHANNEL_1) != HAL_OK)
  {
    Error_Handler();
  }
  sConfigOC.Pulse = 44;
  if (HAL_TIM_PWM_ConfigChannel(&htim2, &sConfigOC, TIM_CHANNEL_2) != HAL_OK)
  {
    Error_Handler();
  }
  sConfigOC.Pulse = 0;
  if (HAL_TIM_PWM_ConfigChannel(&htim2, &sConfigOC, TIM_CHANNEL_3) != HAL_OK)
  {
    Error_Handler();
  }
  if (HAL_TIM_PWM_ConfigChannel(&htim2, &sConfigOC, TIM_CHANNEL_4) != HAL_OK)
  {
    Error_Handler();
  }
  HAL_TIM_MspPostInit(&htim2);

}

static void MX_TIM3_Init(void)
{

  TIM_ClockConfigTypeDef sClockSourceConfig = {0};
  TIM_SlaveConfigTypeDef sSlaveConfig = {0};
  TIM_MasterConfigTypeDef sMasterConfig = {0};
  TIM_OC_InitTypeDef sConfigOC = {0};

  htim3.Instance = TIM3;
  htim3.Init.Prescaler = 0;
  htim3.Init.CounterMode = TIM_COUNTERMODE_CENTERALIGNED1;
  htim3.Init.Period = 64;
  htim3.Init.ClockDivision = TIM_CLOCKDIVISION_DIV1;
  htim3.Init.AutoReloadPreload = TIM_AUTORELOAD_PRELOAD_DISABLE;
  if (HAL_TIM_Base_Init(&htim3) != HAL_OK)
  {
    Error_Handler();
  }
  sClockSourceConfig.ClockSource = TIM_CLOCKSOURCE_INTERNAL;
  if (HAL_TIM_ConfigClockSource(&htim3, &sClockSourceConfig) != HAL_OK)
  {
    Error_Handler();
  }
  if (HAL_TIM_PWM_Init(&htim3) != HAL_OK)
  {
    Error_Handler();
  }
  sSlaveConfig.SlaveMode = TIM_SLAVEMODE_GATED;
  sSlaveConfig.InputTrigger = TIM_TS_ITR2;
  if (HAL_TIM_SlaveConfigSynchro(&htim3, &sSlaveConfig) != HAL_OK)
  {
    Error_Handler();
  }
  sMasterConfig.MasterOutputTrigger = TIM_TRGO_RESET;
  sMasterConfig.MasterSlaveMode = TIM_MASTERSLAVEMODE_DISABLE;
  if (HAL_TIMEx_MasterConfigSynchronization(&htim3, &sMasterConfig) != HAL_OK)
  {
    Error_Handler();
  }
  sConfigOC.OCMode = TIM_OCMODE_PWM1;
  sConfigOC.Pulse = 0;
  sConfigOC.OCPolarity = TIM_OCPOLARITY_HIGH;
  sConfigOC.OCFastMode = TIM_OCFAST_DISABLE;
  if (HAL_TIM_PWM_ConfigChannel(&htim3, &sConfigOC, TIM_CHANNEL_1) != HAL_OK)
  {
    Error_Handler();
  }
  if (HAL_TIM_PWM_ConfigChannel(&htim3, &sConfigOC, TIM_CHANNEL_2) != HAL_OK)
  {
    Error_Handler();
  }
  sConfigOC.Pulse = 27;
  if (HAL_TIM_PWM_ConfigChannel(&htim3, &sConfigOC, TIM_CHANNEL_3) != HAL_OK)
  {
    Error_Handler();
  }
  sConfigOC.Pulse = 0;
  if (HAL_TIM_PWM_ConfigChannel(&htim3, &sConfigOC, TIM_CHANNEL_4) != HAL_OK)
  {
    Error_Handler();
  }
  HAL_TIM_MspPostInit(&htim3);

}

static void MX_TIM4_Init(void)
{

  TIM_ClockConfigTypeDef sClockSourceConfig = {0};
  TIM_SlaveConfigTypeDef sSlaveConfig = {0};
  TIM_MasterConfigTypeDef sMasterConfig = {0};
  TIM_OC_InitTypeDef sConfigOC = {0};

  htim4.Instance = TIM4;
  htim4.Init.Prescaler = 0;
  htim4.Init.CounterMode = TIM_COUNTERMODE_CENTERALIGNED1;
  htim4.Init.Period = 65;
  htim4.Init.ClockDivision = TIM_CLOCKDIVISION_DIV1;
  htim4.Init.AutoReloadPreload = TIM_AUTORELOAD_PRELOAD_DISABLE;
  if (HAL_TIM_Base_Init(&htim4) != HAL_OK)
  {
    Error_Handler();
  }
  sClockSourceConfig.ClockSource = TIM_CLOCKSOURCE_INTERNAL;
  if (HAL_TIM_ConfigClockSource(&htim4, &sClockSourceConfig) != HAL_OK)
  {
    Error_Handler();
  }
  if (HAL_TIM_PWM_Init(&htim4) != HAL_OK)
  {
    Error_Handler();
  }
  sSlaveConfig.SlaveMode = TIM_SLAVEMODE_GATED;
  sSlaveConfig.InputTrigger = TIM_TS_ITR3;
  if (HAL_TIM_SlaveConfigSynchro(&htim4, &sSlaveConfig) != HAL_OK)
  {
    Error_Handler();
  }
  sMasterConfig.MasterOutputTrigger = TIM_TRGO_RESET;
  sMasterConfig.MasterSlaveMode = TIM_MASTERSLAVEMODE_DISABLE;
  if (HAL_TIMEx_MasterConfigSynchronization(&htim4, &sMasterConfig) != HAL_OK)
  {
    Error_Handler();
  }
  sConfigOC.OCMode = TIM_OCMODE_PWM1;
  sConfigOC.Pulse = 0;
  sConfigOC.OCPolarity = TIM_OCPOLARITY_HIGH;
  sConfigOC.OCFastMode = TIM_OCFAST_DISABLE;
  if (HAL_TIM_PWM_ConfigChannel(&htim4, &sConfigOC, TIM_CHANNEL_1) != HAL_OK)
  {
    Error_Handler();
  }
  if (HAL_TIM_PWM_ConfigChannel(&htim4, &sConfigOC, TIM_CHANNEL_2) != HAL_OK)
  {
    Error_Handler();
  }
  if (HAL_TIM_PWM_ConfigChannel(&htim4, &sConfigOC, TIM_CHANNEL_3) != HAL_OK)
  {
    Error_Handler();
  }
  if (HAL_TIM_PWM_ConfigChannel(&htim4, &sConfigOC, TIM_CHANNEL_4) != HAL_OK)
  {
    Error_Handler();
  }
  HAL_TIM_MspPostInit(&htim4);

}

static void MX_TIM5_Init(void)
{

  TIM_ClockConfigTypeDef sClockSourceConfig = {0};
  TIM_SlaveConfigTypeDef sSlaveConfig = {0};
  TIM_MasterConfigTypeDef sMasterConfig = {0};

  htim5.Instance = TIM5;
  htim5.Init.Prescaler = 0;
  htim5.Init.CounterMode = TIM_COUNTERMODE_UP;
  htim5.Init.Period = 1;
  htim5.Init.ClockDivision = TIM_CLOCKDIVISION_DIV1;
  htim5.Init.AutoReloadPreload = TIM_AUTORELOAD_PRELOAD_DISABLE;
  if (HAL_TIM_Base_Init(&htim5) != HAL_OK)
  {
    Error_Handler();
  }
  sClockSourceConfig.ClockSource = TIM_CLOCKSOURCE_INTERNAL;
  if (HAL_TIM_ConfigClockSource(&htim5, &sClockSourceConfig) != HAL_OK)
  {
    Error_Handler();
  }
  sSlaveConfig.SlaveMode = TIM_SLAVEMODE_GATED;
  sSlaveConfig.InputTrigger = TIM_TS_ITR3;
  if (HAL_TIM_SlaveConfigSynchro(&htim5, &sSlaveConfig) != HAL_OK)
  {
    Error_Handler();
  }
  sMasterConfig.MasterOutputTrigger = TIM_TRGO_ENABLE;
  sMasterConfig.MasterSlaveMode = TIM_MASTERSLAVEMODE_ENABLE;
  if (HAL_TIMEx_MasterConfigSynchronization(&htim5, &sMasterConfig) != HAL_OK)
  {
    Error_Handler();
  }

}

static void MX_TIM8_Init(void)
{

  TIM_ClockConfigTypeDef sClockSourceConfig = {0};
  TIM_MasterConfigTypeDef sMasterConfig = {0};

  htim8.Instance = TIM8;
  htim8.Init.Prescaler = 0;
  htim8.Init.CounterMode = TIM_COUNTERMODE_UP;
  htim8.Init.Period = 10;
  htim8.Init.ClockDivision = TIM_CLOCKDIVISION_DIV1;
  htim8.Init.RepetitionCounter = 0;
  htim8.Init.AutoReloadPreload = TIM_AUTORELOAD_PRELOAD_DISABLE;
  if (HAL_TIM_Base_Init(&htim8) != HAL_OK)
  {
    Error_Handler();
  }
  sClockSourceConfig.ClockSource = TIM_CLOCKSOURCE_INTERNAL;
  if (HAL_TIM_ConfigClockSource(&htim8, &sClockSourceConfig) != HAL_OK)
  {
    Error_Handler();
  }
  sMasterConfig.MasterOutputTrigger = TIM_TRGO_ENABLE;
  sMasterConfig.MasterSlaveMode = TIM_MASTERSLAVEMODE_ENABLE;
  if (HAL_TIMEx_MasterConfigSynchronization(&htim8, &sMasterConfig) != HAL_OK)
  {
    Error_Handler();
  }

}

static void MX_UART5_Init(void)
{

  huart5.Instance = UART5;
  huart5.Init.BaudRate = 115200;
  huart5.Init.WordLength = UART_WORDLENGTH_8B;
  huart5.Init.StopBits = UART_STOPBITS_1;
  huart5.Init.Parity = UART_PARITY_NONE;
  huart5.Init.Mode = UART_MODE_TX_RX;
  huart5.Init.HwFlowCtl = UART_HWCONTROL_NONE;
  huart5.Init.OverSampling = UART_OVERSAMPLING_16;
  if (HAL_UART_Init(&huart5) != HAL_OK)
  {
    Error_Handler();
  }

}

static void MX_UART7_Init(void)
{

  huart7.Instance = UART7;
  huart7.Init.BaudRate = 115200;
  huart7.Init.WordLength = UART_WORDLENGTH_8B;
  huart7.Init.StopBits = UART_STOPBITS_1;
  huart7.Init.Parity = UART_PARITY_NONE;
  huart7.Init.Mode = UART_MODE_TX_RX;
  huart7.Init.HwFlowCtl = UART_HWCONTROL_NONE;
  huart7.Init.OverSampling = UART_OVERSAMPLING_16;
  if (HAL_UART_Init(&huart7) != HAL_OK)
  {
    Error_Handler();
  }
  /* USER CODE BEGIN UART7_Init 2 */

}

/**
  * @brief GPIO Initialization Function
  * @param None
  * @retval None
  */
static void MX_GPIO_Init(void)
{
  GPIO_InitTypeDef GPIO_InitStruct = {0};

  /* GPIO Ports Clock Enable */
  __HAL_RCC_GPIOH_CLK_ENABLE();
  __HAL_RCC_GPIOC_CLK_ENABLE();
  __HAL_RCC_GPIOA_CLK_ENABLE();
  __HAL_RCC_GPIOB_CLK_ENABLE();
  __HAL_RCC_GPIOE_CLK_ENABLE();
  __HAL_RCC_GPIOD_CLK_ENABLE();

  /*Configure GPIO pin Output Level */
  HAL_GPIO_WritePin(LED2_GPIO_Port, LED2_Pin, GPIO_PIN_RESET);

  /*Configure GPIO pin Output Level */
  HAL_GPIO_WritePin(GPIOB, GPIO_PIN_12|REG_ON_Pin, GPIO_PIN_RESET);

  /*Configure GPIO pin Output Level */
  HAL_GPIO_WritePin(REG_clk_GPIO_Port, REG_clk_Pin, GPIO_PIN_RESET);

  /*Configure GPIO pin Output Level */
  HAL_GPIO_WritePin(GPIOE, POT_CS_Pin|LED1_Pin, GPIO_PIN_RESET);

  /*Configure GPIO pin : LED2_Pin */
  GPIO_InitStruct.Pin = LED2_Pin;
  GPIO_InitStruct.Mode = GPIO_MODE_OUTPUT_PP;
  GPIO_InitStruct.Pull = GPIO_NOPULL;
  GPIO_InitStruct.Speed = GPIO_SPEED_FREQ_LOW;
  HAL_GPIO_Init(LED2_GPIO_Port, &GPIO_InitStruct);

  /*Configure GPIO pin : PB2_Pin */
  GPIO_InitStruct.Pin = PB2_Pin;
  GPIO_InitStruct.Mode = GPIO_MODE_INPUT;
  GPIO_InitStruct.Pull = GPIO_NOPULL;
  HAL_GPIO_Init(PB2_GPIO_Port, &GPIO_InitStruct);

  /*Configure GPIO pins : PB12 REG_ON_Pin */
  GPIO_InitStruct.Pin = GPIO_PIN_12|REG_ON_Pin;
  GPIO_InitStruct.Mode = GPIO_MODE_OUTPUT_PP;
  GPIO_InitStruct.Pull = GPIO_NOPULL;
  GPIO_InitStruct.Speed = GPIO_SPEED_FREQ_LOW;
  HAL_GPIO_Init(GPIOB, &GPIO_InitStruct);

  /*Configure GPIO pin : REG_clk_Pin */
  GPIO_InitStruct.Pin = REG_clk_Pin;
  GPIO_InitStruct.Mode = GPIO_MODE_OUTPUT_PP;
  GPIO_InitStruct.Pull = GPIO_NOPULL;
  GPIO_InitStruct.Speed = GPIO_SPEED_FREQ_LOW;
  HAL_GPIO_Init(REG_clk_GPIO_Port, &GPIO_InitStruct);

  /*Configure GPIO pin : PB1_Pin */
  GPIO_InitStruct.Pin = PB1_Pin;
  GPIO_InitStruct.Mode = GPIO_MODE_INPUT;
  GPIO_InitStruct.Pull = GPIO_NOPULL;
  HAL_GPIO_Init(PB1_GPIO_Port, &GPIO_InitStruct);

  /*Configure GPIO pins : POT_CS_Pin LED1_Pin */
  GPIO_InitStruct.Pin = POT_CS_Pin|LED1_Pin;
  GPIO_InitStruct.Mode = GPIO_MODE_OUTPUT_PP;
  GPIO_InitStruct.Pull = GPIO_NOPULL;
  GPIO_InitStruct.Speed = GPIO_SPEED_FREQ_LOW;
  HAL_GPIO_Init(GPIOE, &GPIO_InitStruct);

}

/* USER CODE BEGIN 4 */
/********************************************************************************************/
void timers_init(){
	TIM1->CCER &= ~((1 << 0) | (1 << 4) | (1 << 8) | (1 << 12) );
	TIM2->CCER &= ~((1 << 0) | (1 << 4) | (1 << 8) | (1 << 12) );
	TIM3->CCER &= ~((1 << 0) | (1 << 4) | (1 << 8) | (1 << 12) );
	TIM4->CCER &= ~((1 << 0) | (1 << 4) | (1 << 8) | (1 << 12) );

	TIM1->CR1 |= (1<<0);
	TIM2->CR1 |= (1<<0);
	TIM3->CR1 |= (1<<0);
	TIM4->CR1 |= (1<<0);
}
/********************************************************************************************/
void setRegVoltage(float Vo){
	uint16_t pData;
	//pData = 0x11;
//	if( Vo >=2.717 && Vo <= 12) pData = 1.482/(Vo-1.235)*256.00;
//	else if( Vo < 2.717 ) pData = 255;
//	else if( Vo > 12 ) pData = 35;
	if( Vo >=1.9 && Vo <= 12) pData = 4.7*1.23*256.0/10.0/(Vo-1.23);
	else if( Vo < 1.9 ) pData = 255;
	else if( Vo > 12 ) pData = 14;
	pData = pData | (uint16_t)(0x11 << 8) ;
	HAL_GPIO_WritePin(POT_CS_GPIO_Port,POT_CS_Pin,GPIO_PIN_RESET);
	HAL_SPI_Transmit(&hspi2,(uint8_t *)&pData,1,100);
	HAL_GPIO_WritePin(POT_CS_GPIO_Port,POT_CS_Pin,GPIO_PIN_SET);
  /* USER CODE END UART7_Init 2 */

}

/********************************************************************************************/
void resetLEDs(){
	uint8_t LED_data1 = 0x00;
	HAL_SPI_Transmit(&hspi3,(uint8_t *)&LED_data1,1,100);
	HAL_SPI_Transmit(&hspi3,(uint8_t *)&LED_data1,1,100);
	HAL_Delay(1);
	HAL_GPIO_WritePin(REG_clk_GPIO_Port,REG_clk_Pin,GPIO_PIN_SET);
	HAL_Delay(1);
	HAL_GPIO_WritePin(REG_clk_GPIO_Port,REG_clk_Pin,GPIO_PIN_RESET);
}
/********************************************************************************************/
void setLEDs(uint8_t COL, uint8_t NUM , uint8_t ON_OFF ){
		uint16_t d = 0 ;
		if( NUM <= 7 && NUM >= 1 && (COL == RED || COL == GREEN)){
			d = 1 << (LED_POS[NUM-1]*2 + COL);
			if(ON_OFF == 1) LEDs_state |= d;
			else if(ON_OFF == 0) LEDs_state &= ~d;
			uint8_t LED_data1 = LEDs_state & 0xff;
			uint8_t LED_data2 = LEDs_state >> 8;
			HAL_SPI_Transmit(&hspi3,&LED_data1,1,100);
			HAL_SPI_Transmit(&hspi3,&LED_data2,1,100);
			HAL_Delay(1);
			HAL_GPIO_WritePin(REG_clk_GPIO_Port,REG_clk_Pin,GPIO_PIN_SET);
			HAL_Delay(1);
			HAL_GPIO_WritePin(REG_clk_GPIO_Port,REG_clk_Pin,GPIO_PIN_RESET);
		}
}
/********************************************************************************************/
void set_frequency(int f){
	TIM1->ARR = f;
	TIM2->ARR = f;
	TIM3->ARR = f;
	TIM4->ARR = f;
	for(int i=0;i<7;i++){
		if( channels[i] == ch1_2){
			timers[i]->CCR1 = (uint16_t)(f / 2)-transmiter_state[i]*deadtime;
			timers[i]->CCR2 = (uint16_t)(f / 2)+ transmiter_state[i]*deadtime;
		}else if( channels[i] == ch3_4){
			timers[i]->CCR3 = (uint16_t)(f / 2)- transmiter_state[i]*deadtime;
			timers[i]->CCR4 = (uint16_t)(f / 2)+ transmiter_state[i]*deadtime;
		}
	}
}
/********************************************************************************************/
void PWM_SET(TIM_HandleTypeDef* timer,uint8_t channel ,int8_t phase ,int f,uint8_t deadtime)
{
//	timer->Init.Period = f;
//	HAL_TIM_PWM_Init(timer);
//	TIM_OC_InitTypeDef sConfigOC = {0};
//	sConfigOC.OCPolarity = TIM_OCPOLARITY_HIGH;
//  sConfigOC.OCFastMode = TIM_OCFAST_ENABLE;

	//sConfigOC.Pulse = (uint16_t)(f / 2);

//	if( phase == INPHASE) sConfigOC.OCMode = TIM_OCMODE_PWM1;
//  else if( phase == ANTIPHASE) sConfigOC.OCMode = TIM_OCMODE_PWM2;
//  sConfigOC.Pulse = (int)(f / 2) - (phase)*deadtime;
//	if(channel == ch1_2) HAL_TIM_PWM_ConfigChannel(timer, &sConfigOC, TIM_CHANNEL_1);
//	else if(channel == ch3_4) HAL_TIM_PWM_ConfigChannel(timer, &sConfigOC, TIM_CHANNEL_3);
//  sConfigOC.Pulse = (int)(f / 2) + (phase)*deadtime;
//	if(channel == ch1_2) HAL_TIM_PWM_ConfigChannel(timer, &sConfigOC, TIM_CHANNEL_2);
//	else if(channel == ch3_4) HAL_TIM_PWM_ConfigChannel(timer, &sConfigOC, TIM_CHANNEL_4);
  	HAL_TIM_MspPostInit(timer);
}
/********************************************************************************************/
void transmiter(uint8_t num,int8_t state , uint8_t HighZ)
{
	uint16_t temp;
	if(state == INPHASE ){
			if(channels[num-1] == ch1_2){
			timers[num-1]->CCER &= ~((1 << 0) | (1 << 4));
			timers[num-1]->CCMR1 |= ((1<<5)|(1<<6)|(1<<13)|(1<<14));
			timers[num-1]->CCMR1 &= ~((1<<4)|(1<<12));//pwm mode1
			timers[num-1]->CCR1 = (uint16_t)(freq / 2)- state*deadtime;
			timers[num-1]->CCR2 = (uint16_t)(freq / 2)+ state*deadtime;
			timers[num-1]->CCER |= ((1 << 0) | (1 << 4));//output enable
			}else if(channels[num-1] == ch3_4){
			timers[num-1]->CCER &= ~((1 << 8) | (1 << 12));
			timers[num-1]->CCMR2 |= ((1<<5)|(1<<6)|(1<<13)|(1<<14));
			timers[num-1]->CCMR2 &= ~((1<<4)|(1<<12));//pwm mode1
			timers[num-1]->CCR3 = (uint16_t)(freq / 2)- state*deadtime;
			timers[num-1]->CCR4 = (uint16_t)(freq / 2)+ state*deadtime;
			timers[num-1]->CCER |= ((1 << 8) | (1 << 12));//output enable
			}
			setLEDs(RED , num , 1);
			setLEDs(GREEN , num , 0);
	}else if(state == ANTIPHASE ){
		 if(channels[num-1] == ch1_2){
			timers[num-1]->CCER &= ~((1 << 0) | (1 << 4));
			timers[num-1]->CCMR1 |= ((1<<4)|(1<<5)|(1<<6)|(1<<12)|(1<<13)|(1<<14));//pwm mode2
			timers[num-1]->CCR1 = (uint16_t)(freq / 2)- state*deadtime;
			timers[num-1]->CCR2 = (uint16_t)(freq / 2)+ state*deadtime;
			timers[num-1]->CCER |= ((1 << 0) | (1 << 4));//output enable
			}else if(channels[num-1] == ch3_4){
			timers[num-1]->CCER &= ~((1 << 8) | (1 << 12));
			timers[num-1]->CCMR2 |= ((1<<4)|(1<<5)|(1<<6)|(1<<12)|(1<<13)|(1<<14));//pwm mode2
			timers[num-1]->CCR3 = (uint16_t)(freq / 2)- state*deadtime;
			timers[num-1]->CCR4 = (uint16_t)(freq / 2)+ state*deadtime;
			timers[num-1]->CCER |= ((1 << 8) | (1 << 12));//output enable
			}
			setLEDs(GREEN , num , 1);
			setLEDs(RED , num , 0);
	}else if(state == OFF){
		if(channels[num-1] == ch1_2){
			timers[num-1]->CCER &= ~((1 << 0) | (1 << 4)); // output disable
			timers[num-1]->CCMR1 |= ((1<<6)|(1<<14));//output forced mode inactive level ch1 inactive level ch2(gate drive is inverted- nmos is ch2)
			timers[num-1]->CCMR1 &= ~((1<<4)|(1<<5)|(1<<12)|(1<<13));
			if( HighZ == SHORTCIRCUIT ) timers[num-1]->CCER |= ((1 << 0) | (1 << 4));//output enable
		}
		if(channels[num-1] == ch3_4){
			timers[num-1]->CCER &= ~((1 << 8) | (1 << 12));
			timers[num-1]->CCMR2 |= ((1<<6)|(1<<14));//output forced mode inactive level ch1 inactive level ch2(gate drive is inverted- nmos is ch2)
			timers[num-1]->CCMR2 &= ~((1<<4)|(1<<5)|(1<<12)|(1<<13));
			if( HighZ == SHORTCIRCUIT ) timers[num-1]->CCER |= ((1 << 8) | (1 << 12));//output enable
		}
		setLEDs(RED , num , 0);
		setLEDs(GREEN , num , 0);
	}
	transmiter_state[num-1] = state;

}

void HAL_UART_RxCpltCallback(UART_HandleTypeDef *huart)
{
	//char buff2[5]="done\n";
  HAL_UART_Receive_IT(&huart5,(uint8_t *)buff, 2);
	received_flag = 1;
//	HAL_UART_Transmit (&huart5,(uint8_t *)buff ,5,500);
//	if(buff[0] == 'I'){
//		freq = 92;
////		set_frequency(freq);
////		transmiter(6,ANTIPHASE,OPENCIRCUIT);
////		transmiter(7,ANTIPHASE,OPENCIRCUIT);
////		HAL_UART_Transmit (&huart5,(uint8_t *)buff2 ,5,50);
//	}else if(buff[0] == 'A'){
//		freq = 97;
////		set_frequency(freq);
////		transmiter(6,ANTIPHASE,OPENCIRCUIT);
////		transmiter(7,INPHASE,OPENCIRCUIT);
////		HAL_UART_Transmit (&huart5,(uint8_t *)buff2 ,5,50);
//	}else if(buff[0] == 'S'){
//		freq = 95;
////		set_frequency(freq);
////		transmiter(6,ANTIPHASE,OPENCIRCUIT);
////		transmiter(7,OFF,OPENCIRCUIT);
////HAL_UART_Transmit (&huart5,(uint8_t *)buff2 ,5,50);
//	}
}
/* USER CODE END 4 */

void Error_Handler(void)
{
  /* USER CODE BEGIN Error_Handler_Debug */
  /* User can add his own implementation to report the HAL error return state */
	HAL_GPIO_WritePin(LED2_GPIO_Port,LED2_Pin,GPIO_PIN_SET);
  /* USER CODE END Error_Handler_Debug */
}

/************************ (C) COPYRIGHT STMicroelectronics *****END OF FILE****/
